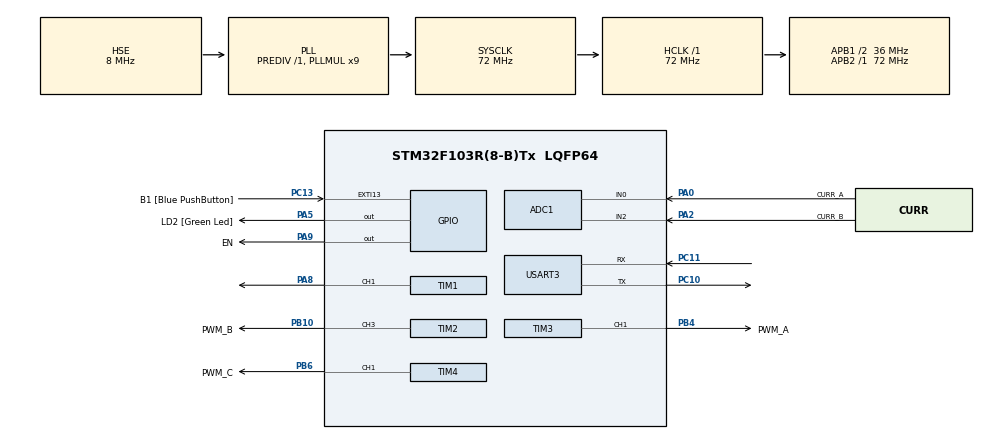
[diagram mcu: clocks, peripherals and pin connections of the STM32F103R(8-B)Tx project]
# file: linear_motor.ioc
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ADC1.Channel-0\#ChannelRegularConversion=ADC_CHANNEL_2
ADC1.NbrOfConversionFlag=1
ADC1.Rank-0\#ChannelRegularConversion=1
ADC1.SamplingTime-0\#ChannelRegularConversion=ADC_SAMPLETIME_1CYCLE_5
ADC1.master=1
Dma.ADC1.0.Direction=DMA_PERIPH_TO_MEMORY
Dma.ADC1.0.Instance=DMA1_Channel1
Dma.ADC1.0.MemDataAlignment=DMA_MDATAALIGN_HALFWORD
Dma.ADC1.0.MemInc=DMA_MINC_ENABLE
Dma.ADC1.0.Mode=DMA_NORMAL
Dma.ADC1.0.PeriphDataAlignment=DMA_PDATAALIGN_HALFWORD
Dma.ADC1.0.PeriphInc=DMA_PINC_DISABLE
Dma.ADC1.0.Priority=DMA_PRIORITY_LOW
Dma.Request0=ADC1
Mcu.Family=STM32F1
Mcu.Name=STM32F103R(8-B)Tx
Mcu.Package=LQFP64
NVIC.DMA1_Channel1_IRQn=true\:0\:0\:false\:false\:true\:false\:true\:true
NVIC.EXTI15_10_IRQn=true\:0\:0\:false\:false\:true\:true\:true\:true
NVIC.PriorityGroup=NVIC_PRIORITYGROUP_4
NVIC.TIM1_UP_IRQn=true\:0\:0\:false\:false\:true\:true\:true\:true
PA0-WKUP.GPIO_Label=CURR_A
PA0-WKUP.Signal=ADCx_IN0
PA13.GPIO_Label=TMS
PA13.Mode=Serial_Wire
PA13.Signal=SYS_JTMS-SWDIO
PA14.GPIO_Label=TCK
PA14.Mode=Serial_Wire
PA14.Signal=SYS_JTCK-SWCLK
PA2.GPIO_Label=CURR_B
PA2.Signal=ADCx_IN2
PA5.GPIO_Label=LD2 [Green Led]
PA5.GPIO_ModeDefaultOutputPP=GPIO_MODE_OUTPUT_PP
PA5.GPIO_PuPd=GPIO_NOPULL
PA5.GPIO_Speed=GPIO_SPEED_FREQ_LOW
PA5.Signal=GPIO_Output
PA8.Signal=S_TIM1_CH1
PA9.GPIO_Label=EN
PA9.Signal=GPIO_Output
PB10.GPIO_Label=PWM_B
PB10.Signal=S_TIM2_CH3
PB3.GPIO_Label=SWO
PB3.Signal=SYS_JTDO-TRACESWO
PB4.GPIO_Label=PWM_A
PB4.Signal=S_TIM3_CH1
PB6.GPIO_Label=PWM_C
PB6.Signal=S_TIM4_CH1
PC10.Mode=Asynchronous
PC10.Signal=USART3_TX
PC11.Mode=Asynchronous
PC11.Signal=USART3_RX
PC13-TAMPER-RTC.GPIO_Label=B1 [Blue PushButton]
PC13-TAMPER-RTC.GPIO_PuPd=GPIO_NOPULL
PC13-TAMPER-RTC.Signal=GPXTI13
PC14-OSC32_IN.Signal=RCC_OSC32_IN
PC15-OSC32_OUT.Signal=RCC_OSC32_OUT
PD0-OSC_IN.Mode=HSE-External-Oscillator
PD0-OSC_IN.Signal=RCC_OSC_IN
PD1-OSC_OUT.Mode=HSE-External-Oscillator
PD1-OSC_OUT.Signal=RCC_OSC_OUT
ProjectManager.HeapSize=0x200
ProjectManager.StackSize=0x400
ProjectManager.TargetToolchain=STM32CubeIDE
RCC.ADCPresc=RCC_ADCPCLK2_DIV6
RCC.AHBFreq_Value=72000000
RCC.APB1CLKDivider=RCC_HCLK_DIV2
RCC.APB1Freq_Value=36000000
RCC.APB1TimFreq_Value=72000000
RCC.APB2Freq_Value=72000000
RCC.APB2TimFreq_Value=72000000
RCC.HCLKFreq_Value=72000000
RCC.PLLMUL=RCC_PLL_MUL9
RCC.PLLSourceVirtual=RCC_PLLSOURCE_HSE
RCC.RTCClockSelection=RCC_RTCCLKSOURCE_LSE
RCC.SYSCLKFreq_VALUE=72000000
RCC.SYSCLKSource=RCC_SYSCLKSOURCE_PLLCLK
RCC.USBFreq_Value=72000000
SH.ADCx_IN0.0=ADC1_IN0,IN0
SH.ADCx_IN2.0=ADC1_IN2,IN2
SH.S_TIM1_CH1.0=TIM1_CH1,Output Compare1 CH1
SH.S_TIM2_CH3.0=TIM2_CH3,PWM Generation3 CH3
SH.S_TIM3_CH1.0=TIM3_CH1,PWM Generation1 CH1
SH.S_TIM4_CH1.0=TIM4_CH1,PWM Generation1 CH1
TIM1.Channel-Output\ Compare1\ CH1=TIM_CHANNEL_1
TIM1.Period=999
TIM1.Prescaler=249
TIM2.Channel-PWM\ Generation3\ CH3=TIM_CHANNEL_3
TIM2.Period=99
TIM2.Prescaler=179
TIM3.Channel-PWM\ Generation1\ CH1=TIM_CHANNEL_1
TIM3.Period=99
TIM3.Prescaler=179
TIM4.Channel-PWM\ Generation1\ CH1=TIM_CHANNEL_1
TIM4.Period=99
TIM4.Prescaler=179
USART3.VirtualMode=VM_ASYNC
VP_TIM1_VS_ClockSourceINT.Mode=Internal
VP_TIM3_VS_ClockSourceINT.Mode=Internal
VP_TIM4_VS_ClockSourceINT.Mode=Internal
board=NUCLEO-F103RB

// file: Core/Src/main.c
/* USER CODE BEGIN Header */
/**
  ******************************************************************************
  * @file           : main.c
  * @brief          : Main program body
  ******************************************************************************
  * @attention
  *
  * Copyright (c) 2025 STMicroelectronics.
  * All rights reserved.
  *
  * This software is licensed under terms that can be found in the LICENSE file
  * in the root directory of this software component.
  * If no LICENSE file comes with this software, it is provided AS-IS.
  *
  ******************************************************************************
  */
/* USER CODE END Header */
#include "main.h"

/* USER CODE BEGIN PD */
#define PI 3.1415926
#define MAX_S 4294967296

#define MAGN_P 26.666
#define COIL_P 31.111

#define B_MAX 1.2
#define I_MAX 1
#define U_PWR 12
#define E_MAX 1

#define LENGTH 30
#define W 48

#define PHASE_R 0.3
#define R_DS 0.3
#define PHASE_L 0.000064

#define ENC_STEP 0.02

#define START_A 7
/* USER CODE END PD */

ADC_HandleTypeDef hadc1;
DMA_HandleTypeDef hdma_adc1;

TIM_HandleTypeDef htim1;
TIM_HandleTypeDef htim2;
TIM_HandleTypeDef htim3;
TIM_HandleTypeDef htim4;

UART_HandleTypeDef huart3;

/* USER CODE BEGIN PV */
float t_keys[6][3] = {{1.333,0,0}, {0.667,0.667,0}, {0,1.333,0}, {0,0.667,0.667}, {0,0,1.333}, {0.667,0,0.667}};
uint32_t pwm[3] = {0, 0, 0};
uint16_t curr_sens[2] = {0, 0};
float i_a = 0, i_b = 0, i_c = 0;

float u_max = 4*(E_MAX + 2*I_MAX*PHASE_R + I_MAX*R_DS + PHASE_L*2000);
uint32_t PWM_max;

/* USER CODE END PV */

void SystemClock_Config(void);
static void MX_GPIO_Init(void);
static void MX_DMA_Init(void);
static void MX_TIM2_Init(void);
static void MX_TIM3_Init(void);
static void MX_TIM4_Init(void);
static void MX_TIM1_Init(void);
static void MX_ADC1_Init(void);
static void MX_USART3_UART_Init(void);

/* USER CODE BEGIN 0 */
void PWM(uint8_t cnt) {
  pwm[0] = (uint32_t)PWM_max*t_keys[cnt][0];
  pwm[1] = (uint32_t)PWM_max*t_keys[cnt][1];
  pwm[2] = (uint32_t)PWM_max*t_keys[cnt][2];

  __HAL_TIM_SET_COMPARE(&htim3, TIM_CHANNEL_1, pwm[0]); //A
  __HAL_TIM_SET_COMPARE(&htim2, TIM_CHANNEL_3, pwm[1]); //B
  __HAL_TIM_SET_COMPARE(&htim4, TIM_CHANNEL_1, pwm[2]); //C

  HAL_ADC_Start_DMA(&hadc1, curr_sens, 2);
  i_a = 5*(float)(curr_sens[0] - 2048)/2048;
  i_b = 5*(float)(curr_sens[1] - 2048)/2048;
  i_c = -i_a - i_b;
}

/* USER CODE END 0 */

int main(void)
{

  /* USER CODE BEGIN 1 */
  PWM_max = (uint32_t)(MAX_S*u_max/U_PWR);
  /* USER CODE END 1 */

  /* MCU Configuration--------------------------------------------------------*/

  /* Reset of all peripherals, Initializes the Flash interface and the Systick. */
  HAL_Init();

  /* Configure the system clock */
  SystemClock_Config();

  /* Initialize all configured peripherals */
  MX_GPIO_Init();
  MX_DMA_Init();
  MX_TIM2_Init();
  MX_TIM3_Init();
  MX_TIM4_Init();
  MX_TIM1_Init();
  MX_ADC1_Init();
  MX_USART3_UART_Init();
  /* USER CODE BEGIN 2 */
  HAL_TIM_Base_Start_IT(&htim1);
  HAL_TIM_PWM_Start(&htim2, TIM_CHANNEL_3);
  HAL_TIM_PWM_Start(&htim3, TIM_CHANNEL_1);
  HAL_TIM_PWM_Start(&htim4, TIM_CHANNEL_1);
  HAL_GPIO_WritePin(EN_GPIO_Port, EN_Pin, 1);
  /* USER CODE END 2 */

  /* Infinite loop */
  while (1)
  {

  }
}

void SystemClock_Config(void)
{
  RCC_OscInitTypeDef RCC_OscInitStruct = {0};
  RCC_ClkInitTypeDef RCC_ClkInitStruct = {0};
  RCC_PeriphCLKInitTypeDef PeriphClkInit = {0};

  /** Initializes the RCC Oscillators according to the specified parameters
  * in the RCC_OscInitTypeDef structure.
  */
  RCC_OscInitStruct.OscillatorType = RCC_OSCILLATORTYPE_HSE;
  RCC_OscInitStruct.HSEState = RCC_HSE_ON;
  RCC_OscInitStruct.HSEPredivValue = RCC_HSE_PREDIV_DIV1;
  RCC_OscInitStruct.HSIState = RCC_HSI_ON;
  RCC_OscInitStruct.PLL.PLLState = RCC_PLL_ON;
  RCC_OscInitStruct.PLL.PLLSource = RCC_PLLSOURCE_HSE;
  RCC_OscInitStruct.PLL.PLLMUL = RCC_PLL_MUL9;
  if (HAL_RCC_OscConfig(&RCC_OscInitStruct) != HAL_OK)
  {
    Error_Handler();
  }

  /** Initializes the CPU, AHB and APB buses clocks
  */
  RCC_ClkInitStruct.ClockType = RCC_CLOCKTYPE_HCLK|RCC_CLOCKTYPE_SYSCLK
                              |RCC_CLOCKTYPE_PCLK1|RCC_CLOCKTYPE_PCLK2;
  RCC_ClkInitStruct.SYSCLKSource = RCC_SYSCLKSOURCE_PLLCLK;
  RCC_ClkInitStruct.AHBCLKDivider = RCC_SYSCLK_DIV1;
  RCC_ClkInitStruct.APB1CLKDivider = RCC_HCLK_DIV2;
  RCC_ClkInitStruct.APB2CLKDivider = RCC_HCLK_DIV1;

  if (HAL_RCC_ClockConfig(&RCC_ClkInitStruct, FLASH_LATENCY_2) != HAL_OK)
  {
    Error_Handler();
  }
  PeriphClkInit.PeriphClockSelection = RCC_PERIPHCLK_ADC;
  PeriphClkInit.AdcClockSelection = RCC_ADCPCLK2_DIV6;
  if (HAL_RCCEx_PeriphCLKConfig(&PeriphClkInit) != HAL_OK)
  {
    Error_Handler();
  }
}

static void MX_ADC1_Init(void)
{

  ADC_ChannelConfTypeDef sConfig = {0};

  /** Common config
  */
  hadc1.Instance = ADC1;
  hadc1.Init.ScanConvMode = ADC_SCAN_DISABLE;
  hadc1.Init.ContinuousConvMode = DISABLE;
  hadc1.Init.DiscontinuousConvMode = DISABLE;
  hadc1.Init.ExternalTrigConv = ADC_SOFTWARE_START;
  hadc1.Init.DataAlign = ADC_DATAALIGN_RIGHT;
  hadc1.Init.NbrOfConversion = 1;
  if (HAL_ADC_Init(&hadc1) != HAL_OK)
  {
    Error_Handler();
  }

  /** Configure Regular Channel
  */
  sConfig.Channel = ADC_CHANNEL_2;
  sConfig.Rank = ADC_REGULAR_RANK_1;
  sConfig.SamplingTime = ADC_SAMPLETIME_1CYCLE_5;
  if (HAL_ADC_ConfigChannel(&hadc1, &sConfig) != HAL_OK)
  {
    Error_Handler();
  }

}

static void MX_TIM1_Init(void)
{

  TIM_ClockConfigTypeDef sClockSourceConfig = {0};
  TIM_MasterConfigTypeDef sMasterConfig = {0};
  TIM_OC_InitTypeDef sConfigOC = {0};
  TIM_BreakDeadTimeConfigTypeDef sBreakDeadTimeConfig = {0};

  htim1.Instance = TIM1;
  htim1.Init.Prescaler = 124;
  htim1.Init.CounterMode = TIM_COUNTERMODE_UP;
  htim1.Init.Period = 999;
  htim1.Init.ClockDivision = TIM_CLOCKDIVISION_DIV1;
  htim1.Init.RepetitionCounter = 0;
  htim1.Init.AutoReloadPreload = TIM_AUTORELOAD_PRELOAD_DISABLE;
  if (HAL_TIM_Base_Init(&htim1) != HAL_OK)
  {
    Error_Handler();
  }
  sClockSourceConfig.ClockSource = TIM_CLOCKSOURCE_INTERNAL;
  if (HAL_TIM_ConfigClockSource(&htim1, &sClockSourceConfig) != HAL_OK)
  {
    Error_Handler();
  }
  if (HAL_TIM_OC_Init(&htim1) != HAL_OK)
  {
    Error_Handler();
  }
  sMasterConfig.MasterOutputTrigger = TIM_TRGO_RESET;
  sMasterConfig.MasterSlaveMode = TIM_MASTERSLAVEMODE_DISABLE;
  if (HAL_TIMEx_MasterConfigSynchronization(&htim1, &sMasterConfig) != HAL_OK)
  {
    Error_Handler();
  }
  sConfigOC.OCMode = TIM_OCMODE_TIMING;
  sConfigOC.Pulse = 0;
  sConfigOC.OCPolarity = TIM_OCPOLARITY_HIGH;
  sConfigOC.OCNPolarity = TIM_OCNPOLARITY_HIGH;
  sConfigOC.OCFastMode = TIM_OCFAST_DISABLE;
  sConfigOC.OCIdleState = TIM_OCIDLESTATE_RESET;
  sConfigOC.OCNIdleState = TIM_OCNIDLESTATE_RESET;
  if (HAL_TIM_OC_ConfigChannel(&htim1, &sConfigOC, TIM_CHANNEL_1) != HAL_OK)
  {
    Error_Handler();
  }
  sBreakDeadTimeConfig.OffStateRunMode = TIM_OSSR_DISABLE;
  sBreakDeadTimeConfig.OffStateIDLEMode = TIM_OSSI_DISABLE;
  sBreakDeadTimeConfig.LockLevel = TIM_LOCKLEVEL_OFF;
  sBreakDeadTimeConfig.DeadTime = 0;
  sBreakDeadTimeConfig.BreakState = TIM_BREAK_DISABLE;
  sBreakDeadTimeConfig.BreakPolarity = TIM_BREAKPOLARITY_HIGH;
  sBreakDeadTimeConfig.AutomaticOutput = TIM_AUTOMATICOUTPUT_DISABLE;
  if (HAL_TIMEx_ConfigBreakDeadTime(&htim1, &sBreakDeadTimeConfig) != HAL_OK)
  {
    Error_Handler();
  }
  HAL_TIM_MspPostInit(&htim1);

}

static void MX_TIM2_Init(void)
{

  TIM_MasterConfigTypeDef sMasterConfig = {0};
  TIM_OC_InitTypeDef sConfigOC = {0};

  htim2.Instance = TIM2;
  htim2.Init.Prescaler = 179;
  htim2.Init.CounterMode = TIM_COUNTERMODE_UP;
  htim2.Init.Period = 99;
  htim2.Init.ClockDivision = TIM_CLOCKDIVISION_DIV1;
  htim2.Init.AutoReloadPreload = TIM_AUTORELOAD_PRELOAD_DISABLE;
  if (HAL_TIM_PWM_Init(&htim2) != HAL_OK)
  {
    Error_Handler();
  }
  sMasterConfig.MasterOutputTrigger = TIM_TRGO_RESET;
  sMasterConfig.MasterSlaveMode = TIM_MASTERSLAVEMODE_DISABLE;
  if (HAL_TIMEx_MasterConfigSynchronization(&htim2, &sMasterConfig) != HAL_OK)
  {
    Error_Handler();
  }
  sConfigOC.OCMode = TIM_OCMODE_PWM1;
  sConfigOC.Pulse = 0;
  sConfigOC.OCPolarity = TIM_OCPOLARITY_HIGH;
  sConfigOC.OCFastMode = TIM_OCFAST_DISABLE;
  if (HAL_TIM_PWM_ConfigChannel(&htim2, &sConfigOC, TIM_CHANNEL_3) != HAL_OK)
  {
    Error_Handler();
  }
  HAL_TIM_MspPostInit(&htim2);

}

static void MX_TIM3_Init(void)
{

  TIM_ClockConfigTypeDef sClockSourceConfig = {0};
  TIM_MasterConfigTypeDef sMasterConfig = {0};
  TIM_OC_InitTypeDef sConfigOC = {0};

  htim3.Instance = TIM3;
  htim3.Init.Prescaler = 179;
  htim3.Init.CounterMode = TIM_COUNTERMODE_UP;
  htim3.Init.Period = 99;
  htim3.Init.ClockDivision = TIM_CLOCKDIVISION_DIV1;
  htim3.Init.AutoReloadPreload = TIM_AUTORELOAD_PRELOAD_DISABLE;
  if (HAL_TIM_Base_Init(&htim3) != HAL_OK)
  {
    Error_Handler();
  }
  sClockSourceConfig.ClockSource = TIM_CLOCKSOURCE_INTERNAL;
  if (HAL_TIM_ConfigClockSource(&htim3, &sClockSourceConfig) != HAL_OK)
  {
    Error_Handler();
  }
  if (HAL_TIM_PWM_Init(&htim3) != HAL_OK)
  {
    Error_Handler();
  }
  sMasterConfig.MasterOutputTrigger = TIM_TRGO_RESET;
  sMasterConfig.MasterSlaveMode = TIM_MASTERSLAVEMODE_DISABLE;
  if (HAL_TIMEx_MasterConfigSynchronization(&htim3, &sMasterConfig) != HAL_OK)
  {
    Error_Handler();
  }
  sConfigOC.OCMode = TIM_OCMODE_PWM1;
  sConfigOC.Pulse = 0;
  sConfigOC.OCPolarity = TIM_OCPOLARITY_HIGH;
  sConfigOC.OCFastMode = TIM_OCFAST_DISABLE;
  if (HAL_TIM_PWM_ConfigChannel(&htim3, &sConfigOC, TIM_CHANNEL_1) != HAL_OK)
  {
    Error_Handler();
  }
  HAL_TIM_MspPostInit(&htim3);

}

static void MX_TIM4_Init(void)
{

  TIM_ClockConfigTypeDef sClockSourceConfig = {0};
  TIM_MasterConfigTypeDef sMasterConfig = {0};
  TIM_OC_InitTypeDef sConfigOC = {0};

  htim4.Instance = TIM4;
  htim4.Init.Prescaler = 179;
  htim4.Init.CounterMode = TIM_COUNTERMODE_UP;
  htim4.Init.Period = 99;
  htim4.Init.ClockDivision = TIM_CLOCKDIVISION_DIV1;
  htim4.Init.AutoReloadPreload = TIM_AUTORELOAD_PRELOAD_DISABLE;
  if (HAL_TIM_Base_Init(&htim4) != HAL_OK)
  {
    Error_Handler();
  }
  sClockSourceConfig.ClockSource = TIM_CLOCKSOURCE_INTERNAL;
  if (HAL_TIM_ConfigClockSource(&htim4, &sClockSourceConfig) != HAL_OK)
  {
    Error_Handler();
  }
  if (HAL_TIM_PWM_Init(&htim4) != HAL_OK)
  {
    Error_Handler();
  }
  sMasterConfig.MasterOutputTrigger = TIM_TRGO_RESET;
  sMasterConfig.MasterSlaveMode = TIM_MASTERSLAVEMODE_DISABLE;
  if (HAL_TIMEx_MasterConfigSynchronization(&htim4, &sMasterConfig) != HAL_OK)
  {
    Error_Handler();
  }
  sConfigOC.OCMode = TIM_OCMODE_PWM1;
  sConfigOC.Pulse = 0;
  sConfigOC.OCPolarity = TIM_OCPOLARITY_HIGH;
  sConfigOC.OCFastMode = TIM_OCFAST_DISABLE;
  if (HAL_TIM_PWM_ConfigChannel(&htim4, &sConfigOC, TIM_CHANNEL_1) != HAL_OK)
  {
    Error_Handler();
  }
  HAL_TIM_MspPostInit(&htim4);

}

static void MX_USART3_UART_Init(void)
{

  huart3.Instance = USART3;
  huart3.Init.BaudRate = 115200;
  huart3.Init.WordLength = UART_WORDLENGTH_8B;
  huart3.Init.StopBits = UART_STOPBITS_1;
  huart3.Init.Parity = UART_PARITY_NONE;
  huart3.Init.Mode = UART_MODE_TX_RX;
  huart3.Init.HwFlowCtl = UART_HWCONTROL_NONE;
  huart3.Init.OverSampling = UART_OVERSAMPLING_16;
  if (HAL_UART_Init(&huart3) != HAL_OK)
  {
    Error_Handler();
  }

}

static void MX_DMA_Init(void)
{

  /* DMA controller clock enable */
  __HAL_RCC_DMA1_CLK_ENABLE();

  /* DMA interrupt init */
  /* DMA1_Channel1_IRQn interrupt configuration */
  HAL_NVIC_SetPriority(DMA1_Channel1_IRQn, 0, 0);
  HAL_NVIC_EnableIRQ(DMA1_Channel1_IRQn);

}

static void MX_GPIO_Init(void)
{
  GPIO_InitTypeDef GPIO_InitStruct = {0};

  /* GPIO Ports Clock Enable */
  __HAL_RCC_GPIOC_CLK_ENABLE();
  __HAL_RCC_GPIOD_CLK_ENABLE();
  __HAL_RCC_GPIOA_CLK_ENABLE();
  __HAL_RCC_GPIOB_CLK_ENABLE();

  /*Configure GPIO pin Output Level */
  HAL_GPIO_WritePin(GPIOA, LD2_Pin|EN_Pin, GPIO_PIN_RESET);

  /*Configure GPIO pin : B1_Pin */
  GPIO_InitStruct.Pin = B1_Pin;
  GPIO_InitStruct.Mode = GPIO_MODE_IT_RISING;
  GPIO_InitStruct.Pull = GPIO_NOPULL;
  HAL_GPIO_Init(B1_GPIO_Port, &GPIO_InitStruct);

  /*Configure GPIO pins : LD2_Pin EN_Pin */
  GPIO_InitStruct.Pin = LD2_Pin|EN_Pin;
  GPIO_InitStruct.Mode = GPIO_MODE_OUTPUT_PP;
  GPIO_InitStruct.Pull = GPIO_NOPULL;
  GPIO_InitStruct.Speed = GPIO_SPEED_FREQ_LOW;
  HAL_GPIO_Init(GPIOA, &GPIO_InitStruct);

  /* EXTI interrupt init*/
  HAL_NVIC_SetPriority(EXTI15_10_IRQn, 0, 0);
  HAL_NVIC_EnableIRQ(EXTI15_10_IRQn);

}

void Error_Handler(void)
{
  __disable_irq();
  while (1)
  {
  }
}
